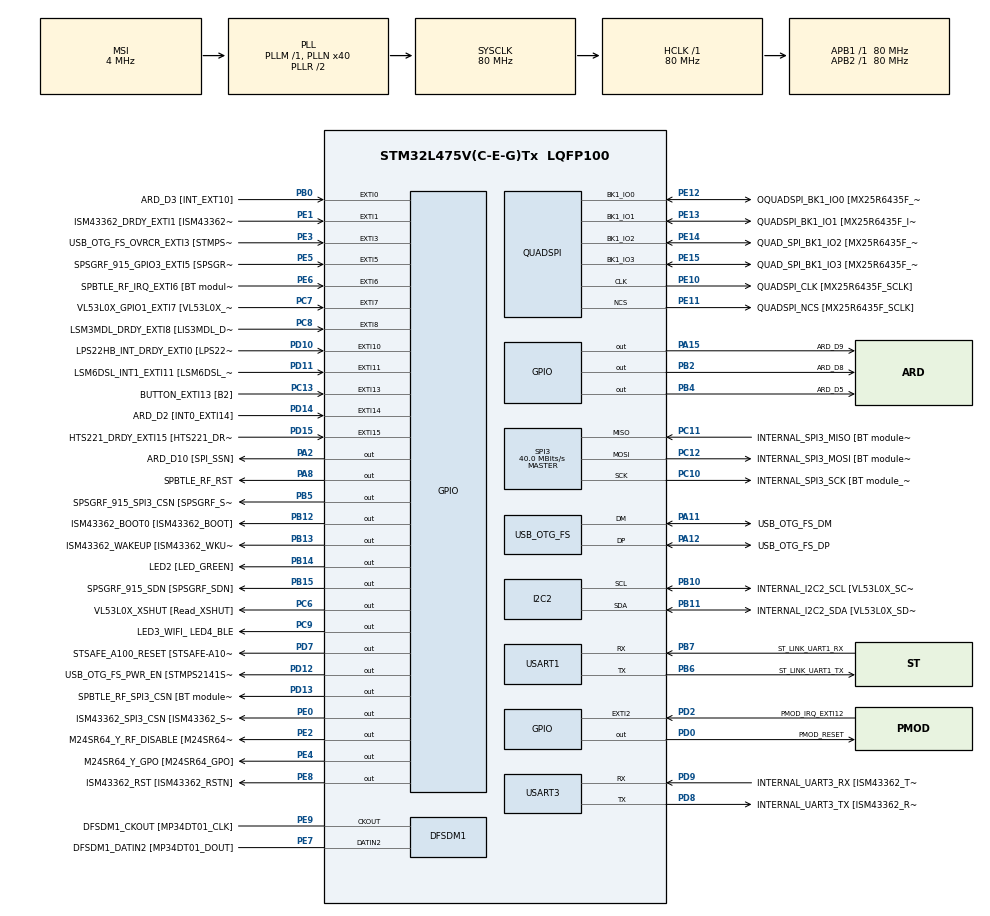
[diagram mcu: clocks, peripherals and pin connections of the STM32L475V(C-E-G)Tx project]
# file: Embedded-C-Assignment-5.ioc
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Mcu.Family=STM32L4
Mcu.Name=STM32L475V(C-E-G)Tx
Mcu.Package=LQFP100
NVIC.EXTI15_10_IRQn=true\:0\:0\:false\:false\:true\:true\:true\:true
NVIC.EXTI9_5_IRQn=true\:0\:0\:false\:false\:true\:true\:true\:true
NVIC.PriorityGroup=NVIC_PRIORITYGROUP_4
PA0.GPIO_Label=ARD_D1 [UART4_TX]
PA0.Signal=UART4_TX
PA1.GPIO_Label=ARD_D0 [UART4_RX]
PA1.Signal=UART4_RX
PA10.GPIO_Label=USB_OTG_FS_ID
PA10.Signal=USB_OTG_FS_ID
PA11.GPIO_Label=USB_OTG_FS_DM
PA11.Mode=Device_Only
PA11.Signal=USB_OTG_FS_DM
PA12.GPIO_Label=USB_OTG_FS_DP
PA12.Mode=Device_Only
PA12.Signal=USB_OTG_FS_DP
PA13\ (JTMS-SWDIO).GPIO_Label=SYS_JTMS_SWDIO
PA13\ (JTMS-SWDIO).Mode=Serial_Wire
PA13\ (JTMS-SWDIO).Signal=SYS_JTMS-SWDIO
PA14\ (JTCK-SWCLK).GPIO_Label=SYS_JTCK_SWCLK
PA14\ (JTCK-SWCLK).Mode=Serial_Wire
PA14\ (JTCK-SWCLK).Signal=SYS_JTCK-SWCLK
PA15\ (JTDI).GPIO_Label=ARD_D9
PA15\ (JTDI).Signal=GPIO_Output
PA2.GPIO_Label=ARD_D10 [SPI_SSN]
PA2.Signal=GPIO_Output
PA3.GPIO_Label=ARD_D4
PA3.Signal=S_TIM2_CH4
PA4.GPIO_Label=ARD_D7
PA4.Signal=ADCx_IN9
PA5.GPIO_Label=ARD_D13 [SPI1_SCK]
PA5.Signal=SPI1_SCK
PA6.GPIO_Label=ARD_D12 [SPI1_MISO]
PA6.Signal=SPI1_MISO
PA7.GPIO_Label=ARD_D11 [SPI1_MOSI]
PA7.Signal=SPI1_MOSI
PA8.GPIO_Label=SPBTLE_RF_RST
PA8.Signal=GPIO_Output
PA9.GPIO_Label=USB_OTG_FS_VBUS [STMPS2141STR_OUT]
PA9.Signal=USB_OTG_FS_VBUS
PB0.GPIO_Label=ARD_D3 [INT_EXT10]
PB0.Signal=GPXTI0
PB1.GPIO_Label=ARD_D6 [ADC1_IN6]
PB1.Signal=ADCx_IN16
PB10.GPIO_Label=INTERNAL_I2C2_SCL [VL53L0X_SCL]
PB10.GPIO_Pu=GPIO_PULLUP
PB10.Mode=I2C
PB10.Signal=I2C2_SCL
PB11.GPIO_Label=INTERNAL_I2C2_SDA [VL53L0X_SDA]
PB11.GPIO_Pu=GPIO_PULLUP
PB11.Mode=I2C
PB11.Signal=I2C2_SDA
PB12.GPIO_Label=ISM43362_BOOT0 [ISM43362_BOOT]
PB12.Signal=GPIO_Output
PB13.GPIO_Label=ISM43362_WAKEUP [ISM43362_WKUP]
PB13.Signal=GPIO_Output
PB14.GPIO_Label=LED2 [LED_GREEN]
PB14.Signal=GPIO_Output
PB15.GPIO_Label=SPSGRF_915_SDN [SPSGRF_SDN]
PB15.Signal=GPIO_Output
PB2.GPIO_Label=ARD_D8
PB2.Signal=GPIO_Output
PB3\ (JTDO-TRACESWO).GPIO_Label=SYS_JTD0_SWO
PB3\ (JTDO-TRACESWO).Signal=SYS_JTDO-SWO
PB4\ (NJTRST).GPIO_Label=ARD_D5
PB4\ (NJTRST).Signal=GPIO_Output
PB5.GPIO_Label=SPSGRF_915_SPI3_CSN [SPSGRF_SPI_CS]
PB5.PinState=GPIO_PIN_SET
PB5.Signal=GPIO_Output
PB6.GPIO_Label=ST_LINK_UART1_TX
PB6.Mode=Asynchronous
PB6.Signal=USART1_TX
PB7.GPIO_Label=ST_LINK_UART1_RX
PB7.Mode=Asynchronous
PB7.Signal=USART1_RX
PB8.GPIO_Label=ARD_D15 [I2C1_SCL]
PB8.Signal=I2C1_SCL
PB9.GPIO_Label=ARD_D14 [I2C1_SDA]
PB9.Signal=I2C1_SDA
PC0.GPIO_Label=ARD_A5 [ADC]
PC0.Signal=ADCx_IN1
PC1.GPIO_Label=ARD_A4 [ADC]
PC1.Signal=ADCx_IN2
PC10.GPIO_Label=INTERNAL_SPI3_SCK [BT module_SPI_SCLK] [ISM43362_SCK]
PC10.Mode=Full_Duplex_Master
PC10.Signal=SPI3_SCK
PC11.GPIO_Label=INTERNAL_SPI3_MISO [BT module_SPI_MISO] [ISM43362_MISO]
PC11.Mode=Full_Duplex_Master
PC11.Signal=SPI3_MISO
PC12.GPIO_Label=INTERNAL_SPI3_MOSI [BT module_SPI_MOSI] [ISM43362_MOSI]
PC12.Mode=Full_Duplex_Master
PC12.Signal=SPI3_MOSI
PC13.GPIO_Label=BUTTON_EXTI13 [B2]
PC13.GPIO_ModeDefaultEXTI=GPIO_MODE_IT_FALLING
PC13.Signal=GPXTI13
PC14-OSC32_IN\ (PC14).Mode=LSE-External-Oscillator
PC14-OSC32_IN\ (PC14).Signal=RCC_OSC32_IN
PC15-OSC32_OUT\ (PC15).Mode=LSE-External-Oscillator
PC15-OSC32_OUT\ (PC15).Signal=RCC_OSC32_OUT
PC2.GPIO_Label=ARD_A3 [ADC]
PC2.Signal=ADCx_IN3
PC3.GPIO_Label=ARD_A2 [ADC]
PC3.Signal=ADCx_IN4
PC4.GPIO_Label=ARD_A1 [ADC]
PC4.Signal=ADCx_IN13
PC5.GPIO_Label=ARD_A0 [ADC]
PC5.Signal=ADCx_IN14
PC6.GPIO_Label=VL53L0X_XSHUT [Read_XSHUT]
PC6.Signal=GPIO_Output
PC7.GPIO_Label=VL53L0X_GPIO1_EXTI7 [VL53L0X_GPIO1]
PC7.Signal=GPXTI7
PC8.GPIO_Label=LSM3MDL_DRDY_EXTI8 [LIS3MDL_DRDY]
PC8.Signal=GPXTI8
PC9.GPIO_Label=LED3_WIFI_ LED4_BLE
PC9.Signal=GPIO_Output
PD0.GPIO_Label=PMOD_RESET
PD0.Signal=GPIO_Output
PD1.GPIO_Label=PMOD_SPI2_SCK
PD1.Signal=SPI2_SCK
PD10.GPIO_Label=LPS22HB_INT_DRDY_EXTI0 [LPS22HB_INT_DRDY] 
PD10.Signal=GPXTI10
PD11.GPIO_Label=LSM6DSL_INT1_EXTI11 [LSM6DSL_INT1]
PD11.Signal=GPXTI11
PD12.GPIO_Label=USB_OTG_FS_PWR_EN [STMPS2141STR_EN]
PD12.Signal=GPIO_Output
PD13.GPIO_Label=SPBTLE_RF_SPI3_CSN [BT module_SPI_CS]
PD13.PinState=GPIO_PIN_SET
PD13.Signal=GPIO_Output
PD14.GPIO_Label=ARD_D2 [INT0_EXTI14]
PD14.Signal=GPXTI14
PD15.GPIO_Label=HTS221_DRDY_EXTI15 [HTS221_DRDY]
PD15.Signal=GPXTI15
PD2.GPIO_Label=PMOD_IRQ_EXTI12
PD2.Signal=GPXTI2
PD3.GPIO_Label=PMOD_UART2_CTS
PD3.Signal=USART2_CTS
PD4.GPIO_Label=PMOD_UART2_RTS
PD4.Signal=USART2_RTS
PD5.GPIO_Label=PMOD_UART2_TX
PD5.Signal=USART2_TX
PD6.GPIO_Label=PMOD_UART2_RX
PD6.Signal=USART2_RX
PD7.GPIO_Label=STSAFE_A100_RESET [STSAFE-A100_RESET]
PD7.Signal=GPIO_Output
PD8.GPIO_Label=INTERNAL_UART3_TX [ISM43362_RX]
PD8.Mode=Asynchronous
PD8.Signal=USART3_TX
PD9.GPIO_Label=INTERNAL_UART3_RX [ISM43362_TX]
PD9.Mode=Asynchronous
PD9.Signal=USART3_RX
PE0.GPIO_Label=ISM43362_SPI3_CSN [ISM43362_SSN]
PE0.PinState=GPIO_PIN_SET
PE0.Signal=GPIO_Output
PE1.GPIO_Label=ISM43362_DRDY_EXTI1 [ISM43362_DATARDY]
PE1.Signal=GPXTI1
PE10.GPIO_Label=QUADSPI_CLK [MX25R6435F_SCLK]
PE10.Mode=Single Bank
PE10.Signal=QUADSPI_CLK
PE11.GPIO_Label=QUADSPI_NCS [MX25R6435F_SCLK]
PE11.Mode=Single Bank
PE11.Signal=QUADSPI_NCS
PE12.GPIO_Label=OQUADSPI_BK1_IO0 [MX25R6435F_IO0]
PE12.Mode=Single Bank
PE12.Signal=QUADSPI_BK1_IO0
PE13.GPIO_Label=QUADSPI_BK1_IO1 [MX25R6435F_IO1]
PE13.Mode=Single Bank
PE13.Signal=QUADSPI_BK1_IO1
PE14.GPIO_Label=QUAD_SPI_BK1_IO2 [MX25R6435F_IO2]
PE14.Mode=Single Bank
PE14.Signal=QUADSPI_BK1_IO2
PE15.GPIO_Label=QUAD_SPI_BK1_IO3 [MX25R6435F_IO3]
PE15.Mode=Single Bank
PE15.Signal=QUADSPI_BK1_IO3
PE2.GPIO_Label=M24SR64_Y_RF_DISABLE [M24SR64_RFDIS]
PE2.Signal=GPIO_Output
PE3.GPIO_Label=USB_OTG_FS_OVRCR_EXTI3 [STMPS2141STR_FAULT]
PE3.Signal=GPXTI3
PE4.GPIO_Label=M24SR64_Y_GPO [M24SR64_GPO]
PE4.Signal=GPIO_Output
PE5.GPIO_Label=SPSGRF_915_GPIO3_EXTI5 [SPSGRF_GPIO_3]
PE5.Signal=GPXTI5
PE6.GPIO_Label=SPBTLE_RF_IRQ_EXTI6 [BT module_SPI_IRQ]
PE6.Signal=GPXTI6
PE7.GPIO_Label=DFSDM1_DATIN2 [MP34DT01_DOUT]
PE7.Signal=S_DATAIN2DFSDM1
PE8.GPIO_Label=ISM43362_RST [ISM43362_RSTN]
PE8.Signal=GPIO_Output
PE9.GPIO_Label=DFSDM1_CKOUT [MP34DT01_CLK]
PE9.Signal=S_CKOUTDFSDM1
ProjectManager.HeapSize=0x200
ProjectManager.StackSize=0x400
ProjectManager.TargetToolchain=STM32CubeIDE
QUADSPI.ClockPrescaler=2
QUADSPI.FifoThreshold=4
QUADSPI.FlashSize=23
QUADSPI.SampleShifting=QSPI_SAMPLE_SHIFTING_HALFCYCLE
RCC.ADCFreq_Value=48000000
RCC.AHBFreq_Value=80000000
RCC.APB1Freq_Value=80000000
RCC.APB1TimFreq_Value=80000000
RCC.APB2Freq_Value=80000000
RCC.APB2TimFreq_Value=80000000
RCC.CortexFreq_Value=80000000
RCC.HCLKFreq_Value=80000000
RCC.HSE_VALUE=8000000
RCC.HSI_VALUE=16000000
RCC.MSI_VALUE=4000000
RCC.PLLN=40
RCC.PLLSAI1N=24
RCC.SYSCLKFreq_VALUE=80000000
RCC.SYSCLKSource=RCC_SYSCLKSOURCE_PLLCLK
RCC.USBFreq_Value=48000000
RCC.VCOOutputFreq_Value=160000000
SH.ADCx_IN1.0=ADC1_IN1
SH.ADCx_IN13.0=ADC1_IN13
SH.ADCx_IN14.0=ADC1_IN14
SH.ADCx_IN16.0=ADC1_IN16
SH.ADCx_IN2.0=ADC1_IN2
SH.ADCx_IN3.0=ADC1_IN3
SH.ADCx_IN4.0=ADC1_IN4
SH.ADCx_IN9.0=ADC1_IN9
SH.S_CKOUTDFSDM1.0=DFSDM1_CKOUT,CKOUT
SH.S_CKOUTDFSDM1.1=DFSDM1_CKOUT,PDM_SPI_Input_from_ch12_and_Internal_Clock
SH.S_DATAIN2DFSDM1.0=DFSDM1_DATIN2,PDM_SPI_Input_from_ch12_and_Internal_Clock
SH.S_TIM2_CH4.0=TIM2_CH4
SPI3.CalculateBaudRate=40.0 MBits/s
SPI3.Direction=SPI_DIRECTION_2LINES
SPI3.Mode=SPI_MODE_MASTER
SPI3.VirtualType=VM_MASTER
USART1.VirtualMode-Asynchronous=VM_ASYNC
USART3.VirtualMode-Asynchronous=VM_ASYNC
USB_OTG_FS.VirtualMode=Device_Only
board=B-L475E-IOT01A2

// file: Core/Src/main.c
/* USER CODE BEGIN Header */
/**
  ******************************************************************************
  * @file           : main.c
  * @brief          : Main program body
  ******************************************************************************
  * @attention
  *
  * Copyright (c) 2023 STMicroelectronics.
  * All rights reserved.
  *
  * This software is licensed under terms that can be found in the LICENSE file
  * in the root directory of this software component.
  * If no LICENSE file comes with this software, it is provided AS-IS.
  *
  ******************************************************************************
  */
/* USER CODE END Header */
#include "main.h"

/* USER CODE BEGIN Includes */
#include "stm32l475e_iot01.h"
#include "stm32l475e_iot01_qspi.h"
#include <string.h>
#include <stdio.h>
/* USER CODE END Includes */

DFSDM_Channel_HandleTypeDef hdfsdm1_channel1;

I2C_HandleTypeDef hi2c2;

QSPI_HandleTypeDef hqspi;

SPI_HandleTypeDef hspi3;

UART_HandleTypeDef huart1;
UART_HandleTypeDef huart3;

PCD_HandleTypeDef hpcd_USB_OTG_FS;

void SystemClock_Config(void);
static void MX_GPIO_Init(void);
static void MX_DFSDM1_Init(void);
static void MX_I2C2_Init(void);
static void MX_QUADSPI_Init(void);
static void MX_SPI3_Init(void);
static void MX_USART1_UART_Init(void);
static void MX_USART3_UART_Init(void);
static void MX_USB_OTG_FS_PCD_Init(void);

/* USER CODE BEGIN 0 */
void do_qspi_status()
{
	uint8_t status = BSP_QSPI_GetStatus();
	char buf[100];
	snprintf(buf, sizeof(buf), "status: %d\r\n", status);

	HAL_UART_Transmit(&huart1, (uint8_t*)buf, strlen(buf), 1000);
}

void do_qspi_info()
{
	QSPI_Info info = {0};
	BSP_QSPI_GetInfo(&info);

	char buf[100];
	snprintf(buf, sizeof(buf), "FlashSize: %lu\r\n"
							   "EraseSectorSize: %lu\r\n"
							   "ProgPageSize: %lu\r\n",
							   info.FlashSize,
							   info.EraseSectorSize,
							   info.ProgPageSize);
	HAL_UART_Transmit(&huart1, (uint8_t*)buf, strlen(buf), 1000);
}
/* USER CODE END 0 */

int main(void)
{

  /* MCU Configuration--------------------------------------------------------*/

  /* Reset of all peripherals, Initializes the Flash interface and the Systick. */
  HAL_Init();

  /* Configure the system clock */
  SystemClock_Config();

  /* Initialize all configured peripherals */
  MX_GPIO_Init();
  MX_DFSDM1_Init();
  MX_I2C2_Init();
  MX_QUADSPI_Init();
  MX_SPI3_Init();
  MX_USART1_UART_Init();
  MX_USART3_UART_Init();
  MX_USB_OTG_FS_PCD_Init();

  /* Infinite loop */
  while (1)
  {

    /* USER CODE BEGIN 3 */
	// Issue command prompt
	char *prompt = "1=BSP_QSPI_Status(), 2=BSP_QSPI_Info()\n\rcmd> ";
	HAL_UART_Transmit(&huart1, (uint8_t*) prompt, strlen(prompt), 1000);
	// Wait for a single number entry
	char ch;
	HAL_UART_Receive(&huart1, (uint8_t*)&ch, 1, HAL_MAX_DELAY);
	char *msg = "what?";
	switch(ch)
	{
		case '1':
		{
			msg = "\r\nBSP_QSPI_Status()\r\n";
			HAL_UART_Transmit(&huart1, (uint8_t*) msg, strlen(msg), 1000);
			do_qspi_status();
			break;
		}
		case '2':
		{
			msg = "\r\nBSP_QSPI_Info()\r\n";
			HAL_UART_Transmit(&huart1, (uint8_t*) msg, strlen(msg), 1000);
			do_qspi_info();
			break;
		}
		default:
		{
			msg = "\r\nwhat?\r\n";
			HAL_UART_Transmit(&huart1, (uint8_t*) msg, strlen(msg), 1000);
		}
	}
  }
  /* USER CODE END 3 */
}

void SystemClock_Config(void)
{
  RCC_OscInitTypeDef RCC_OscInitStruct = {0};
  RCC_ClkInitTypeDef RCC_ClkInitStruct = {0};

  /** Configure the main internal regulator output voltage
  */
  if (HAL_PWREx_ControlVoltageScaling(PWR_REGULATOR_VOLTAGE_SCALE1) != HAL_OK)
  {
    Error_Handler();
  }

  /** Configure LSE Drive Capability
  */
  HAL_PWR_EnableBkUpAccess();
  __HAL_RCC_LSEDRIVE_CONFIG(RCC_LSEDRIVE_LOW);

  /** Initializes the RCC Oscillators according to the specified parameters
  * in the RCC_OscInitTypeDef structure.
  */
  RCC_OscInitStruct.OscillatorType = RCC_OSCILLATORTYPE_LSE|RCC_OSCILLATORTYPE_MSI;
  RCC_OscInitStruct.LSEState = RCC_LSE_ON;
  RCC_OscInitStruct.MSIState = RCC_MSI_ON;
  RCC_OscInitStruct.MSICalibrationValue = 0;
  RCC_OscInitStruct.MSIClockRange = RCC_MSIRANGE_6;
  RCC_OscInitStruct.PLL.PLLState = RCC_PLL_ON;
  RCC_OscInitStruct.PLL.PLLSource = RCC_PLLSOURCE_MSI;
  RCC_OscInitStruct.PLL.PLLM = 1;
  RCC_OscInitStruct.PLL.PLLN = 40;
  RCC_OscInitStruct.PLL.PLLP = RCC_PLLP_DIV7;
  RCC_OscInitStruct.PLL.PLLQ = RCC_PLLQ_DIV2;
  RCC_OscInitStruct.PLL.PLLR = RCC_PLLR_DIV2;
  if (HAL_RCC_OscConfig(&RCC_OscInitStruct) != HAL_OK)
  {
    Error_Handler();
  }

  /** Initializes the CPU, AHB and APB buses clocks
  */
  RCC_ClkInitStruct.ClockType = RCC_CLOCKTYPE_HCLK|RCC_CLOCKTYPE_SYSCLK
                              |RCC_CLOCKTYPE_PCLK1|RCC_CLOCKTYPE_PCLK2;
  RCC_ClkInitStruct.SYSCLKSource = RCC_SYSCLKSOURCE_PLLCLK;
  RCC_ClkInitStruct.AHBCLKDivider = RCC_SYSCLK_DIV1;
  RCC_ClkInitStruct.APB1CLKDivider = RCC_HCLK_DIV1;
  RCC_ClkInitStruct.APB2CLKDivider = RCC_HCLK_DIV1;

  if (HAL_RCC_ClockConfig(&RCC_ClkInitStruct, FLASH_LATENCY_4) != HAL_OK)
  {
    Error_Handler();
  }

  /** Enable MSI Auto calibration
  */
  HAL_RCCEx_EnableMSIPLLMode();
}

static void MX_DFSDM1_Init(void)
{

  hdfsdm1_channel1.Instance = DFSDM1_Channel1;
  hdfsdm1_channel1.Init.OutputClock.Activation = ENABLE;
  hdfsdm1_channel1.Init.OutputClock.Selection = DFSDM_CHANNEL_OUTPUT_CLOCK_SYSTEM;
  hdfsdm1_channel1.Init.OutputClock.Divider = 2;
  hdfsdm1_channel1.Init.Input.Multiplexer = DFSDM_CHANNEL_EXTERNAL_INPUTS;
  hdfsdm1_channel1.Init.Input.DataPacking = DFSDM_CHANNEL_STANDARD_MODE;
  hdfsdm1_channel1.Init.Input.Pins = DFSDM_CHANNEL_FOLLOWING_CHANNEL_PINS;
  hdfsdm1_channel1.Init.SerialInterface.Type = DFSDM_CHANNEL_SPI_RISING;
  hdfsdm1_channel1.Init.SerialInterface.SpiClock = DFSDM_CHANNEL_SPI_CLOCK_INTERNAL;
  hdfsdm1_channel1.Init.Awd.FilterOrder = DFSDM_CHANNEL_FASTSINC_ORDER;
  hdfsdm1_channel1.Init.Awd.Oversampling = 1;
  hdfsdm1_channel1.Init.Offset = 0;
  hdfsdm1_channel1.Init.RightBitShift = 0x00;
  if (HAL_DFSDM_ChannelInit(&hdfsdm1_channel1) != HAL_OK)
  {
    Error_Handler();
  }

}

static void MX_I2C2_Init(void)
{

  hi2c2.Instance = I2C2;
  hi2c2.Init.Timing = 0x00000E14;
  hi2c2.Init.OwnAddress1 = 0;
  hi2c2.Init.AddressingMode = I2C_ADDRESSINGMODE_7BIT;
  hi2c2.Init.DualAddressMode = I2C_DUALADDRESS_DISABLE;
  hi2c2.Init.OwnAddress2 = 0;
  hi2c2.Init.OwnAddress2Masks = I2C_OA2_NOMASK;
  hi2c2.Init.GeneralCallMode = I2C_GENERALCALL_DISABLE;
  hi2c2.Init.NoStretchMode = I2C_NOSTRETCH_DISABLE;
  if (HAL_I2C_Init(&hi2c2) != HAL_OK)
  {
    Error_Handler();
  }

  /** Configure Analogue filter
  */
  if (HAL_I2CEx_ConfigAnalogFilter(&hi2c2, I2C_ANALOGFILTER_ENABLE) != HAL_OK)
  {
    Error_Handler();
  }

  /** Configure Digital filter
  */
  if (HAL_I2CEx_ConfigDigitalFilter(&hi2c2, 0) != HAL_OK)
  {
    Error_Handler();
  }

}

static void MX_QUADSPI_Init(void)
{

  /* QUADSPI parameter configuration*/
  hqspi.Instance = QUADSPI;
  hqspi.Init.ClockPrescaler = 2;
  hqspi.Init.FifoThreshold = 4;
  hqspi.Init.SampleShifting = QSPI_SAMPLE_SHIFTING_HALFCYCLE;
  hqspi.Init.FlashSize = 23;
  hqspi.Init.ChipSelectHighTime = QSPI_CS_HIGH_TIME_1_CYCLE;
  hqspi.Init.ClockMode = QSPI_CLOCK_MODE_0;
  if (HAL_QSPI_Init(&hqspi) != HAL_OK)
  {
    Error_Handler();
  }

}

static void MX_SPI3_Init(void)
{

  /* SPI3 parameter configuration*/
  hspi3.Instance = SPI3;
  hspi3.Init.Mode = SPI_MODE_MASTER;
  hspi3.Init.Direction = SPI_DIRECTION_2LINES;
  hspi3.Init.DataSize = SPI_DATASIZE_4BIT;
  hspi3.Init.CLKPolarity = SPI_POLARITY_LOW;
  hspi3.Init.CLKPhase = SPI_PHASE_1EDGE;
  hspi3.Init.NSS = SPI_NSS_SOFT;
  hspi3.Init.BaudRatePrescaler = SPI_BAUDRATEPRESCALER_2;
  hspi3.Init.FirstBit = SPI_FIRSTBIT_MSB;
  hspi3.Init.TIMode = SPI_TIMODE_DISABLE;
  hspi3.Init.CRCCalculation = SPI_CRCCALCULATION_DISABLE;
  hspi3.Init.CRCPolynomial = 7;
  hspi3.Init.CRCLength = SPI_CRC_LENGTH_DATASIZE;
  hspi3.Init.NSSPMode = SPI_NSS_PULSE_ENABLE;
  if (HAL_SPI_Init(&hspi3) != HAL_OK)
  {
    Error_Handler();
  }

}

static void MX_USART1_UART_Init(void)
{

  huart1.Instance = USART1;
  huart1.Init.BaudRate = 115200;
  huart1.Init.WordLength = UART_WORDLENGTH_8B;
  huart1.Init.StopBits = UART_STOPBITS_1;
  huart1.Init.Parity = UART_PARITY_NONE;
  huart1.Init.Mode = UART_MODE_TX_RX;
  huart1.Init.HwFlowCtl = UART_HWCONTROL_NONE;
  huart1.Init.OverSampling = UART_OVERSAMPLING_16;
  huart1.Init.OneBitSampling = UART_ONE_BIT_SAMPLE_DISABLE;
  huart1.AdvancedInit.AdvFeatureInit = UART_ADVFEATURE_NO_INIT;
  if (HAL_UART_Init(&huart1) != HAL_OK)
  {
    Error_Handler();
  }

}

static void MX_USART3_UART_Init(void)
{

  huart3.Instance = USART3;
  huart3.Init.BaudRate = 115200;
  huart3.Init.WordLength = UART_WORDLENGTH_8B;
  huart3.Init.StopBits = UART_STOPBITS_1;
  huart3.Init.Parity = UART_PARITY_NONE;
  huart3.Init.Mode = UART_MODE_TX_RX;
  huart3.Init.HwFlowCtl = UART_HWCONTROL_NONE;
  huart3.Init.OverSampling = UART_OVERSAMPLING_16;
  huart3.Init.OneBitSampling = UART_ONE_BIT_SAMPLE_DISABLE;
  huart3.AdvancedInit.AdvFeatureInit = UART_ADVFEATURE_NO_INIT;
  if (HAL_UART_Init(&huart3) != HAL_OK)
  {
    Error_Handler();
  }

}

static void MX_USB_OTG_FS_PCD_Init(void)
{

  hpcd_USB_OTG_FS.Instance = USB_OTG_FS;
  hpcd_USB_OTG_FS.Init.dev_endpoints = 6;
  hpcd_USB_OTG_FS.Init.speed = PCD_SPEED_FULL;
  hpcd_USB_OTG_FS.Init.phy_itface = PCD_PHY_EMBEDDED;
  hpcd_USB_OTG_FS.Init.Sof_enable = DISABLE;
  hpcd_USB_OTG_FS.Init.low_power_enable = DISABLE;
  hpcd_USB_OTG_FS.Init.lpm_enable = DISABLE;
  hpcd_USB_OTG_FS.Init.battery_charging_enable = DISABLE;
  hpcd_USB_OTG_FS.Init.use_dedicated_ep1 = DISABLE;
  hpcd_USB_OTG_FS.Init.vbus_sensing_enable = DISABLE;
  if (HAL_PCD_Init(&hpcd_USB_OTG_FS) != HAL_OK)
  {
    Error_Handler();
  }

}

static void MX_GPIO_Init(void)
{
  GPIO_InitTypeDef GPIO_InitStruct = {0};

  /* GPIO Ports Clock Enable */
  __HAL_RCC_GPIOE_CLK_ENABLE();
  __HAL_RCC_GPIOC_CLK_ENABLE();
  __HAL_RCC_GPIOA_CLK_ENABLE();
  __HAL_RCC_GPIOB_CLK_ENABLE();
  __HAL_RCC_GPIOD_CLK_ENABLE();

  /*Configure GPIO pin Output Level */
  HAL_GPIO_WritePin(GPIOE, M24SR64_Y_RF_DISABLE_Pin|M24SR64_Y_GPO_Pin|ISM43362_RST_Pin, GPIO_PIN_RESET);

  /*Configure GPIO pin Output Level */
  HAL_GPIO_WritePin(GPIOA, ARD_D10_Pin|SPBTLE_RF_RST_Pin|ARD_D9_Pin, GPIO_PIN_RESET);

  /*Configure GPIO pin Output Level */
  HAL_GPIO_WritePin(GPIOB, ARD_D8_Pin|ISM43362_BOOT0_Pin|ISM43362_WAKEUP_Pin|LED2_Pin
                          |SPSGRF_915_SDN_Pin|ARD_D5_Pin, GPIO_PIN_RESET);

  /*Configure GPIO pin Output Level */
  HAL_GPIO_WritePin(GPIOD, USB_OTG_FS_PWR_EN_Pin|PMOD_RESET_Pin|STSAFE_A100_RESET_Pin, GPIO_PIN_RESET);

  /*Configure GPIO pin Output Level */
  HAL_GPIO_WritePin(SPBTLE_RF_SPI3_CSN_GPIO_Port, SPBTLE_RF_SPI3_CSN_Pin, GPIO_PIN_SET);

  /*Configure GPIO pin Output Level */
  HAL_GPIO_WritePin(GPIOC, VL53L0X_XSHUT_Pin|LED3_WIFI__LED4_BLE_Pin, GPIO_PIN_RESET);

  /*Configure GPIO pin Output Level */
  HAL_GPIO_WritePin(SPSGRF_915_SPI3_CSN_GPIO_Port, SPSGRF_915_SPI3_CSN_Pin, GPIO_PIN_SET);

  /*Configure GPIO pin Output Level */
  HAL_GPIO_WritePin(ISM43362_SPI3_CSN_GPIO_Port, ISM43362_SPI3_CSN_Pin, GPIO_PIN_SET);

  /*Configure GPIO pins : M24SR64_Y_RF_DISABLE_Pin M24SR64_Y_GPO_Pin ISM43362_RST_Pin ISM43362_SPI3_CSN_Pin */
  GPIO_InitStruct.Pin = M24SR64_Y_RF_DISABLE_Pin|M24SR64_Y_GPO_Pin|ISM43362_RST_Pin|ISM43362_SPI3_CSN_Pin;
  GPIO_InitStruct.Mode = GPIO_MODE_OUTPUT_PP;
  GPIO_InitStruct.Pull = GPIO_NOPULL;
  GPIO_InitStruct.Speed = GPIO_SPEED_FREQ_LOW;
  HAL_GPIO_Init(GPIOE, &GPIO_InitStruct);

  /*Configure GPIO pins : USB_OTG_FS_OVRCR_EXTI3_Pin SPSGRF_915_GPIO3_EXTI5_Pin SPBTLE_RF_IRQ_EXTI6_Pin ISM43362_DRDY_EXTI1_Pin */
  GPIO_InitStruct.Pin = USB_OTG_FS_OVRCR_EXTI3_Pin|SPSGRF_915_GPIO3_EXTI5_Pin|SPBTLE_RF_IRQ_EXTI6_Pin|ISM43362_DRDY_EXTI1_Pin;
  GPIO_InitStruct.Mode = GPIO_MODE_IT_RISING;
  GPIO_InitStruct.Pull = GPIO_NOPULL;
  HAL_GPIO_Init(GPIOE, &GPIO_InitStruct);

  /*Configure GPIO pin : BUTTON_EXTI13_Pin */
  GPIO_InitStruct.Pin = BUTTON_EXTI13_Pin;
  GPIO_InitStruct.Mode = GPIO_MODE_IT_FALLING;
  GPIO_InitStruct.Pull = GPIO_NOPULL;
  HAL_GPIO_Init(BUTTON_EXTI13_GPIO_Port, &GPIO_InitStruct);

  /*Configure GPIO pins : ARD_A5_Pin ARD_A4_Pin ARD_A3_Pin ARD_A2_Pin
                           ARD_A1_Pin ARD_A0_Pin */
  GPIO_InitStruct.Pin = ARD_A5_Pin|ARD_A4_Pin|ARD_A3_Pin|ARD_A2_Pin
                          |ARD_A1_Pin|ARD_A0_Pin;
  GPIO_InitStruct.Mode = GPIO_MODE_ANALOG_ADC_CONTROL;
  GPIO_InitStruct.Pull = GPIO_NOPULL;
  HAL_GPIO_Init(GPIOC, &GPIO_InitStruct);

  /*Configure GPIO pins : ARD_D1_Pin ARD_D0_Pin */
  GPIO_InitStruct.Pin = ARD_D1_Pin|ARD_D0_Pin;
  GPIO_InitStruct.Mode = GPIO_MODE_AF_PP;
  GPIO_InitStruct.Pull = GPIO_NOPULL;
  GPIO_InitStruct.Speed = GPIO_SPEED_FREQ_VERY_HIGH;
  GPIO_InitStruct.Alternate = GPIO_AF8_UART4;
  HAL_GPIO_Init(GPIOA, &GPIO_InitStruct);

  /*Configure GPIO pins : ARD_D10_Pin SPBTLE_RF_RST_Pin ARD_D9_Pin */
  GPIO_InitStruct.Pin = ARD_D10_Pin|SPBTLE_RF_RST_Pin|ARD_D9_Pin;
  GPIO_InitStruct.Mode = GPIO_MODE_OUTPUT_PP;
  GPIO_InitStruct.Pull = GPIO_NOPULL;
  GPIO_InitStruct.Speed = GPIO_SPEED_FREQ_LOW;
  HAL_GPIO_Init(GPIOA, &GPIO_InitStruct);

  /*Configure GPIO pin : ARD_D4_Pin */
  GPIO_InitStruct.Pin = ARD_D4_Pin;
  GPIO_InitStruct.Mode = GPIO_MODE_AF_PP;
  GPIO_InitStruct.Pull = GPIO_NOPULL;
  GPIO_InitStruct.Speed = GPIO_SPEED_FREQ_LOW;
  GPIO_InitStruct.Alternate = GPIO_AF1_TIM2;
  HAL_GPIO_Init(ARD_D4_GPIO_Port, &GPIO_InitStruct);

  /*Configure GPIO pin : ARD_D7_Pin */
  GPIO_InitStruct.Pin = ARD_D7_Pin;
  GPIO_InitStruct.Mode = GPIO_MODE_ANALOG_ADC_CONTROL;
  GPIO_InitStruct.Pull = GPIO_NOPULL;
  HAL_GPIO_Init(ARD_D7_GPIO_Port, &GPIO_InitStruct);

  /*Configure GPIO pins : ARD_D13_Pin ARD_D12_Pin ARD_D11_Pin */
  GPIO_InitStruct.Pin = ARD_D13_Pin|ARD_D12_Pin|ARD_D11_Pin;
  GPIO_InitStruct.Mode = GPIO_MODE_AF_PP;
  GPIO_InitStruct.Pull = GPIO_NOPULL;
  GPIO_InitStruct.Speed = GPIO_SPEED_FREQ_VERY_HIGH;
  GPIO_InitStruct.Alternate = GPIO_AF5_SPI1;
  HAL_GPIO_Init(GPIOA, &GPIO_InitStruct);

  /*Configure GPIO pin : ARD_D3_Pin */
  GPIO_InitStruct.Pin = ARD_D3_Pin;
  GPIO_InitStruct.Mode = GPIO_MODE_IT_RISING;
  GPIO_InitStruct.Pull = GPIO_NOPULL;
  HAL_GPIO_Init(ARD_D3_GPIO_Port, &GPIO_InitStruct);

  /*Configure GPIO pin : ARD_D6_Pin */
  GPIO_InitStruct.Pin = ARD_D6_Pin;
  GPIO_InitStruct.Mode = GPIO_MODE_ANALOG_ADC_CONTROL;
  GPIO_InitStruct.Pull = GPIO_NOPULL;
  HAL_GPIO_Init(ARD_D6_GPIO_Port, &GPIO_InitStruct);

  /*Configure GPIO pins : ARD_D8_Pin ISM43362_BOOT0_Pin ISM43362_WAKEUP_Pin LED2_Pin
                           SPSGRF_915_SDN_Pin ARD_D5_Pin SPSGRF_915_SPI3_CSN_Pin */
  GPIO_InitStruct.Pin = ARD_D8_Pin|ISM43362_BOOT0_Pin|ISM43362_WAKEUP_Pin|LED2_Pin
                          |SPSGRF_915_SDN_Pin|ARD_D5_Pin|SPSGRF_915_SPI3_CSN_Pin;
  GPIO_InitStruct.Mode = GPIO_MODE_OUTPUT_PP;
  GPIO_InitStruct.Pull = GPIO_NOPULL;
  GPIO_InitStruct.Speed = GPIO_SPEED_FREQ_LOW;
  HAL_GPIO_Init(GPIOB, &GPIO_InitStruct);

  /*Configure GPIO pins : LPS22HB_INT_DRDY_EXTI0_Pin LSM6DSL_INT1_EXTI11_Pin ARD_D2_Pin HTS221_DRDY_EXTI15_Pin
                           PMOD_IRQ_EXTI12_Pin */
  GPIO_InitStruct.Pin = LPS22HB_INT_DRDY_EXTI0_Pin|LSM6DSL_INT1_EXTI11_Pin|ARD_D2_Pin|HTS221_DRDY_EXTI15_Pin
                          |PMOD_IRQ_EXTI12_Pin;
  GPIO_InitStruct.Mode = GPIO_MODE_IT_RISING;
  GPIO_InitStruct.Pull = GPIO_NOPULL;
  HAL_GPIO_Init(GPIOD, &GPIO_InitStruct);

  /*Configure GPIO pins : USB_OTG_FS_PWR_EN_Pin SPBTLE_RF_SPI3_CSN_Pin PMOD_RESET_Pin STSAFE_A100_RESET_Pin */
  GPIO_InitStruct.Pin = USB_OTG_FS_PWR_EN_Pin|SPBTLE_RF_SPI3_CSN_Pin|PMOD_RESET_Pin|STSAFE_A100_RESET_Pin;
  GPIO_InitStruct.Mode = GPIO_MODE_OUTPUT_PP;
  GPIO_InitStruct.Pull = GPIO_NOPULL;
  GPIO_InitStruct.Speed = GPIO_SPEED_FREQ_LOW;
  HAL_GPIO_Init(GPIOD, &GPIO_InitStruct);

  /*Configure GPIO pins : VL53L0X_XSHUT_Pin LED3_WIFI__LED4_BLE_Pin */
  GPIO_InitStruct.Pin = VL53L0X_XSHUT_Pin|LED3_WIFI__LED4_BLE_Pin;
  GPIO_InitStruct.Mode = GPIO_MODE_OUTPUT_PP;
  GPIO_InitStruct.Pull = GPIO_NOPULL;
  GPIO_InitStruct.Speed = GPIO_SPEED_FREQ_LOW;
  HAL_GPIO_Init(GPIOC, &GPIO_InitStruct);

  /*Configure GPIO pins : VL53L0X_GPIO1_EXTI7_Pin LSM3MDL_DRDY_EXTI8_Pin */
  GPIO_InitStruct.Pin = VL53L0X_GPIO1_EXTI7_Pin|LSM3MDL_DRDY_EXTI8_Pin;
  GPIO_InitStruct.Mode = GPIO_MODE_IT_RISING;
  GPIO_InitStruct.Pull = GPIO_NOPULL;
  HAL_GPIO_Init(GPIOC, &GPIO_InitStruct);

  /*Configure GPIO pin : PMOD_SPI2_SCK_Pin */
  GPIO_InitStruct.Pin = PMOD_SPI2_SCK_Pin;
  GPIO_InitStruct.Mode = GPIO_MODE_AF_PP;
  GPIO_InitStruct.Pull = GPIO_NOPULL;
  GPIO_InitStruct.Speed = GPIO_SPEED_FREQ_VERY_HIGH;
  GPIO_InitStruct.Alternate = GPIO_AF5_SPI2;
  HAL_GPIO_Init(PMOD_SPI2_SCK_GPIO_Port, &GPIO_InitStruct);

  /*Configure GPIO pins : PMOD_UART2_CTS_Pin PMOD_UART2_RTS_Pin PMOD_UART2_TX_Pin PMOD_UART2_RX_Pin */
  GPIO_InitStruct.Pin = PMOD_UART2_CTS_Pin|PMOD_UART2_RTS_Pin|PMOD_UART2_TX_Pin|PMOD_UART2_RX_Pin;
  GPIO_InitStruct.Mode = GPIO_MODE_AF_PP;
  GPIO_InitStruct.Pull = GPIO_NOPULL;
  GPIO_InitStruct.Speed = GPIO_SPEED_FREQ_VERY_HIGH;
  GPIO_InitStruct.Alternate = GPIO_AF7_USART2;
  HAL_GPIO_Init(GPIOD, &GPIO_InitStruct);

  /*Configure GPIO pins : ARD_D15_Pin ARD_D14_Pin */
  GPIO_InitStruct.Pin = ARD_D15_Pin|ARD_D14_Pin;
  GPIO_InitStruct.Mode = GPIO_MODE_AF_OD;
  GPIO_InitStruct.Pull = GPIO_NOPULL;
  GPIO_InitStruct.Speed = GPIO_SPEED_FREQ_VERY_HIGH;
  GPIO_InitStruct.Alternate = GPIO_AF4_I2C1;
  HAL_GPIO_Init(GPIOB, &GPIO_InitStruct);

  /* EXTI interrupt init*/
  HAL_NVIC_SetPriority(EXTI9_5_IRQn, 0, 0);
  HAL_NVIC_EnableIRQ(EXTI9_5_IRQn);

  HAL_NVIC_SetPriority(EXTI15_10_IRQn, 0, 0);
  HAL_NVIC_EnableIRQ(EXTI15_10_IRQn);

}

void Error_Handler(void)
{
  __disable_irq();
  while (1)
  {
  }
}
